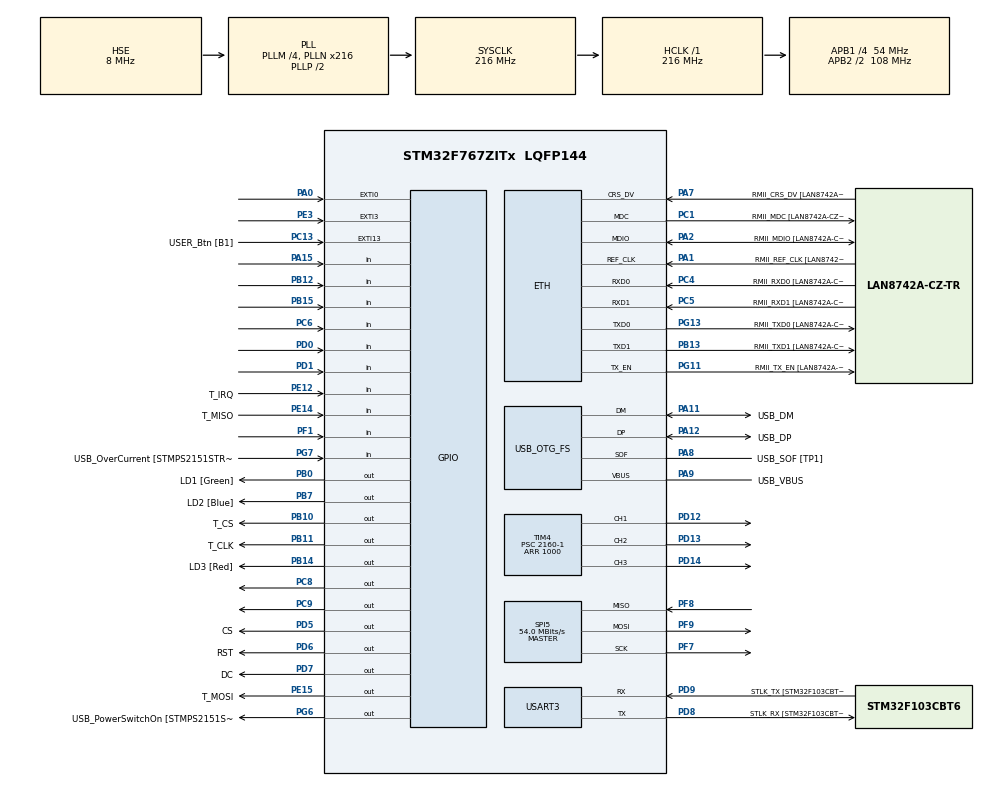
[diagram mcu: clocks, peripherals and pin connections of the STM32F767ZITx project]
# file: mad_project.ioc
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ETH.MediaInterface=HAL_ETH_RMII_MODE
ETH.PHY_Name=LAN8742A_PHY_ADDRESS
ETH.PHY_Value=0
ETH.PhyAddress=0
Mcu.Family=STM32F7
Mcu.Name=STM32F767ZITx
Mcu.Package=LQFP144
NVIC.EXTI0_IRQn=true\:2\:0\:true\:false\:true\:true\:true\:true
NVIC.EXTI3_IRQn=true\:1\:0\:true\:false\:true\:true\:true\:true
NVIC.PriorityGroup=NVIC_PRIORITYGROUP_2
NVIC.TIM2_IRQn=true\:0\:0\:false\:false\:true\:true\:true\:true
PA0/WKUP.Signal=GPXTI0
PA1.GPIO_Label=RMII_REF_CLK [LAN8742A-CZ-TR_REFCLK0]
PA1.Mode=RMII
PA1.Signal=ETH_REF_CLK
PA10.GPIO_Label=USB_ID
PA10.Signal=USB_OTG_FS_ID
PA11.GPIO_Label=USB_DM
PA11.Mode=Device_Only
PA11.Signal=USB_OTG_FS_DM
PA12.GPIO_Label=USB_DP
PA12.Mode=Device_Only
PA12.Signal=USB_OTG_FS_DP
PA13.GPIO_Label=TMS
PA13.Mode=Serial_Wire
PA13.Signal=SYS_JTMS-SWDIO
PA14.GPIO_Label=TCK
PA14.Mode=Serial_Wire
PA14.Signal=SYS_JTCK-SWCLK
PA15.Signal=GPIO_Input
PA2.GPIO_Label=RMII_MDIO [LAN8742A-CZ-TR_MDIO]
PA2.Mode=RMII
PA2.Signal=ETH_MDIO
PA7.GPIO_Label=RMII_CRS_DV [LAN8742A-CZ-TR_CRS_DV]
PA7.Mode=RMII
PA7.Signal=ETH_CRS_DV
PA8.GPIO_Label=USB_SOF [TP1]
PA8.Mode=Activate_SOF_FS
PA8.Signal=USB_OTG_FS_SOF
PA9.GPIO_Label=USB_VBUS
PA9.Mode=Activate_VBUS
PA9.Signal=USB_OTG_FS_VBUS
PB0.GPIO_Label=LD1 [Green]
PB0.Signal=GPIO_Output
PB10.GPIO_Label=T_CS
PB10.Signal=GPIO_Output
PB11.GPIO_Label=T_CLK
PB11.Signal=GPIO_Output
PB12.Signal=GPIO_Input
PB13.GPIO_Label=RMII_TXD1 [LAN8742A-CZ-TR_TXD1]
PB13.Mode=RMII
PB13.Signal=ETH_TXD1
PB14.GPIO_Label=LD3 [Red]
PB14.Signal=GPIO_Output
PB15.Signal=GPIO_Input
PB3.GPIO_Label=SWO
PB3.Signal=SYS_JTDO-SWO
PB7.GPIO_Label=LD2 [Blue]
PB7.Signal=GPIO_Output
PC1.GPIO_Label=RMII_MDC [LAN8742A-CZ-TR_MDC]
PC1.Mode=RMII
PC1.Signal=ETH_MDC
PC13.GPIO_Label=USER_Btn [B1]
PC13.Signal=GPXTI13
PC14/OSC32_IN.Mode=LSE-External-Oscillator
PC14/OSC32_IN.Signal=RCC_OSC32_IN
PC15/OSC32_OUT.Mode=LSE-External-Oscillator
PC15/OSC32_OUT.Signal=RCC_OSC32_OUT
PC4.GPIO_Label=RMII_RXD0 [LAN8742A-CZ-TR_RXD0]
PC4.Mode=RMII
PC4.Signal=ETH_RXD0
PC5.GPIO_Label=RMII_RXD1 [LAN8742A-CZ-TR_RXD1]
PC5.Mode=RMII
PC5.Signal=ETH_RXD1
PC6.Signal=GPIO_Input
PC8.Signal=GPIO_Output
PC9.Signal=GPIO_Output
PD0.Signal=GPIO_Input
PD1.Signal=GPIO_Input
PD12.Signal=S_TIM4_CH1
PD13.Signal=S_TIM4_CH2
PD14.Signal=S_TIM4_CH3
PD5.GPIO_Label=CS
PD5.Signal=GPIO_Output
PD6.GPIO_Label=RST
PD6.Signal=GPIO_Output
PD7.GPIO_Label=DC
PD7.Signal=GPIO_Output
PD8.GPIO_Label=STLK_RX [STM32F103CBT6_PA3]
PD8.Mode=Asynchronous
PD8.Signal=USART3_TX
PD9.GPIO_Label=STLK_TX [STM32F103CBT6_PA2]
PD9.Mode=Asynchronous
PD9.Signal=USART3_RX
PE12.GPIO_Label=T_IRQ
PE12.Signal=GPIO_Input
PE14.GPIO_Label=T_MISO
PE14.Signal=GPIO_Input
PE15.GPIO_Label=T_MOSI
PE15.Signal=GPIO_Output
PE3.Signal=GPXTI3
PF1.Signal=GPIO_Input
PF7.Mode=Full_Duplex_Master
PF7.Signal=SPI5_SCK
PF8.Mode=Full_Duplex_Master
PF8.Signal=SPI5_MISO
PF9.Mode=Full_Duplex_Master
PF9.Signal=SPI5_MOSI
PG11.GPIO_Label=RMII_TX_EN [LAN8742A-CZ-TR_TXEN]
PG11.Mode=RMII
PG11.Signal=ETH_TX_EN
PG13.GPIO_Label=RMII_TXD0 [LAN8742A-CZ-TR_TXD0]
PG13.Mode=RMII
PG13.Signal=ETH_TXD0
PG6.GPIO_Label=USB_PowerSwitchOn [STMPS2151STR_EN]
PG6.Signal=GPIO_Output
PG7.GPIO_Label=USB_OverCurrent [STMPS2151STR_FAULT]
PG7.Signal=GPIO_Input
PH0/OSC_IN.GPIO_Label=MCO [STM32F103CBT6_PA8]
PH0/OSC_IN.Mode=HSE-External-Oscillator
PH0/OSC_IN.Signal=RCC_OSC_IN
PH1/OSC_OUT.Mode=HSE-External-Oscillator
PH1/OSC_OUT.Signal=RCC_OSC_OUT
ProjectManager.HeapSize=0x200
ProjectManager.StackSize=0x400
ProjectManager.TargetToolchain=STM32CubeIDE
RCC.48MHZClocksFreq_Value=24000000
RCC.AHBFreq_Value=216000000
RCC.APB1CLKDivider=RCC_HCLK_DIV4
RCC.APB1Freq_Value=54000000
RCC.APB1TimFreq_Value=108000000
RCC.APB2CLKDivider=RCC_HCLK_DIV2
RCC.APB2Freq_Value=108000000
RCC.APB2TimFreq_Value=216000000
RCC.CortexFreq_Value=216000000
RCC.HCLKFreq_Value=216000000
RCC.HSE_VALUE=8000000
RCC.HSI_VALUE=16000000
RCC.PLLM=4
RCC.PLLMUL=RCC_PLL_MUL9
RCC.PLLN=216
RCC.PLLQ=9
RCC.PRESCALERUSB=RCC_USBCLKSOURCE_PLL_DIV1_5
RCC.SYSCLKFreq_VALUE=216000000
RCC.SYSCLKSource=RCC_SYSCLKSOURCE_PLLCLK
RCC.SYSCLKSourceVirtual=RCC_SYSCLKSOURCE_PLLCLK
RCC.USBFreq_Value=48000000
RCC.VCOOutputFreq_Value=432000000
SH.S_TIM4_CH1.0=TIM4_CH1,PWM Generation1 CH1
SH.S_TIM4_CH2.0=TIM4_CH2,PWM Generation2 CH2
SH.S_TIM4_CH3.0=TIM4_CH3,PWM Generation3 CH3
SPI5.CalculateBaudRate=54.0 MBits/s
SPI5.DataSize=SPI_DATASIZE_8BIT
SPI5.Direction=SPI_DIRECTION_2LINES
SPI5.Mode=SPI_MODE_MASTER
SPI5.NSSPMode=SPI_NSS_PULSE_DISABLE
SPI5.VirtualType=VM_MASTER
TIM2.Period=1000
TIM2.Prescaler=216-1
TIM3.Prescaler=216-1
TIM4.Channel-PWM\ Generation1\ CH1=TIM_CHANNEL_1
TIM4.Channel-PWM\ Generation2\ CH2=TIM_CHANNEL_2
TIM4.Channel-PWM\ Generation3\ CH3=TIM_CHANNEL_3
TIM4.ClockDivision=TIM_CLOCKDIVISION_DIV2
TIM4.Period=1000
TIM4.Prescaler=2160-1
TIM4.Pulse-PWM\ Generation1\ CH1=500
TIM4.Pulse-PWM\ Generation2\ CH2=500
TIM4.Pulse-PWM\ Generation3\ CH3=500
USART3.VirtualMode-Asynchronous=VM_ASYNC
USB_OTG_FS.VirtualMode=Device_Only
VP_TIM2_VS_ClockSourceINT.Mode=Internal
VP_TIM3_VS_ClockSourceINT.Mode=Internal
VP_TIM4_VS_ClockSourceINT.Mode=Internal
board=NUCLEO-F767ZI

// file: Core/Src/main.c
/* USER CODE BEGIN Header */
/**
  ******************************************************************************
  * @file           : main.c
  * @brief          : Main program body
  ******************************************************************************
  * @attention
  *
  * Copyright (c) 2022 STMicroelectronics.
  * All rights reserved.
  *
  * This software is licensed under terms that can be found in the LICENSE file
  * in the root directory of this software component.
  * If no LICENSE file comes with this software, it is provided AS-IS.
  *
  ******************************************************************************
  */
/* USER CODE END Header */
#include "main.h"
#include "eth.h"
#include "spi.h"
#include "tim.h"
#include "usart.h"
#include "usb_otg.h"
#include "gpio.h"

/* USER CODE BEGIN Includes */
#include "stdio.h"
#include "ILI9341_Touchscreen.h"

#include "ILI9341_STM32_Driver.h"
#include "ILI9341_GFX.h"

#include "snow_tiger.h"

#include "string.h"
/* USER CODE END Includes */

/* USER CODE BEGIN PD */
#define DIR_PIN GPIO_PIN_8
#define DIR_PORT GPIOC
#define STEP_PIN GPIO_PIN_9
#define STEP_PORT GPIOC
/* USER CODE END PD */

/* USER CODE BEGIN PV */
int isAuto = 0;

int RSteps = 25;
int LSteps = 25;
int grabSteps = 40;
int isGrip = 0;
int gripCanToggle = 0;
int stateCanToggle = 0;
int stepMotorDelay = 200;
int stepMotorSteps = 200;

uint32_t counter;
uint32_t sec;

uint32_t tick = 0;
uint32_t previousTick = 0;

int modePressed = 0;
int gripPressed = 0;
/* USER CODE END PV */

void SystemClock_Config(void);
/* USER CODE BEGIN PFP */
void microDelay(uint16_t delay);
void stepMotorToOrigin();
void servoMotorToOrigin();
void automation();
/* USER CODE END PFP */

/* USER CODE BEGIN 0 */
char str[50];
/* USER CODE END 0 */

int main(void)
{

  /* MCU Configuration--------------------------------------------------------*/

  /* Reset of all peripherals, Initializes the Flash interface and the Systick. */
  HAL_Init();

  /* Configure the system clock */
  SystemClock_Config();

  /* Initialize all configured peripherals */
  MX_GPIO_Init();
  MX_ETH_Init();
  MX_USART3_UART_Init();
  MX_USB_OTG_FS_PCD_Init();
  MX_TIM4_Init();
  MX_TIM3_Init();
  MX_SPI5_Init();
  MX_TIM2_Init();
  /* USER CODE BEGIN 2 */
  HAL_TIM_Base_Start(&htim3);
  HAL_TIM_Base_Start(&htim4);
  HAL_TIM_PWM_Start(&htim4, TIM_CHANNEL_1);
  HAL_TIM_PWM_Start(&htim4, TIM_CHANNEL_2);
  HAL_TIM_PWM_Start(&htim4, TIM_CHANNEL_3);

  __HAL_TIM_SetCompare(&htim4, TIM_CHANNEL_1, grabSteps);
  __HAL_TIM_SetCompare(&htim4, TIM_CHANNEL_2, RSteps);
  __HAL_TIM_SetCompare(&htim4, TIM_CHANNEL_3, LSteps);

  HAL_TIM_Base_Stop(&htim4);

  HAL_TIM_Base_Start(&htim2);
  ILI9341_Set_Rotation(SCREEN_VERTICAL_1);
  ILI9341_Fill_Screen(WHITE);
  /* USER CODE END 2 */

  /* Infinite loop */
  while (1)
  {

    /* USER CODE BEGIN 3 */

	  if(isAuto == 1)
	  {
		  sprintf(str,"AUTOMATIC...");
		  ILI9341_Draw_Text(str, 10, 10, BLACK, 2, WHITE);
//		  servoMotorToOrigin();
//		  if(stepMotorSteps > 200){
//			  HAL_GPIO_WritePin(DIR_PORT, DIR_PIN,GPIO_PIN_RESET);
//			  for(int i = 0; i< abs(stepMotorSteps - 200);i++){
//				  HAL_GPIO_WritePin(STEP_PORT, STEP_PIN, GPIO_PIN_SET);
//				  HAL_Delay(10);
//				  HAL_GPIO_WritePin(STEP_PORT, STEP_PIN, GPIO_PIN_RESET);
//				  HAL_Delay(10);
//			  }
//		  }
//		  else if(stepMotorSteps < 200){
//		  			  HAL_GPIO_WritePin(DIR_PORT, DIR_PIN,GPIO_PIN_SET);
//		  			  for(int i = 0; i< abs(stepMotorSteps - 200);i++){
//		  				  HAL_GPIO_WritePin(STEP_PORT, STEP_PIN, GPIO_PIN_SET);
//		  				  HAL_Delay(10);
//		  				  HAL_GPIO_WritePin(STEP_PORT, STEP_PIN, GPIO_PIN_RESET);
//		  				  HAL_Delay(10);
//		  			  }
//		  		  }
//		  stepMotorSteps = 200;
//		  HAL_Delay(100);

		  HAL_GPIO_WritePin(DIR_PORT, DIR_PIN,GPIO_PIN_SET);
		  for(int i = 0; i <51;i = i+1){
			  HAL_GPIO_WritePin(STEP_PORT, STEP_PIN, GPIO_PIN_SET);
			  HAL_Delay(10);
			  HAL_GPIO_WritePin(STEP_PORT, STEP_PIN, GPIO_PIN_RESET);
			  HAL_Delay(10);
		  }
		  HAL_Delay(500);

		  while( LSteps < 50){
			  LSteps++;
			  HAL_TIM_PWM_Start(&htim4, TIM_CHANNEL_3);
			  __HAL_TIM_SetCompare(&htim4, TIM_CHANNEL_3, LSteps);
			  HAL_TIM_Base_Stop(&htim4);
			  HAL_Delay(10);
		  }
		  HAL_Delay(800);

		  // Gripper OPEN
		  HAL_TIM_PWM_Start(&htim4, TIM_CHANNEL_1);
		  __HAL_TIM_SetCompare(&htim4, TIM_CHANNEL_1, 40);
		  HAL_TIM_Base_Stop(&htim4);
		  HAL_Delay(10);
		  HAL_Delay(800);

		  while( RSteps < 35) {
			  RSteps++;
			  HAL_TIM_PWM_Start(&htim4, TIM_CHANNEL_2);
			  __HAL_TIM_SetCompare(&htim4, TIM_CHANNEL_2, RSteps);
			  HAL_TIM_Base_Stop(&htim4);
			  HAL_Delay(10);
		  }
		  HAL_Delay(800);

		  // Gripper CLOSE
		  HAL_TIM_PWM_Start(&htim4, TIM_CHANNEL_1);
		  __HAL_TIM_SetCompare(&htim4, TIM_CHANNEL_1, 25);
		  HAL_TIM_Base_Stop(&htim4);
		  HAL_Delay(10);
		  HAL_Delay(800);

		  while( RSteps > 25) {
			  RSteps--;
			  HAL_TIM_PWM_Start(&htim4, TIM_CHANNEL_2);
			  __HAL_TIM_SetCompare(&htim4, TIM_CHANNEL_2, RSteps);
			  HAL_TIM_Base_Stop(&htim4);
			  HAL_Delay(10);
		  }
		  HAL_Delay(800);

		  while( LSteps > 25){
			  LSteps--;
			  HAL_TIM_PWM_Start(&htim4, TIM_CHANNEL_3);
			  __HAL_TIM_SetCompare(&htim4, TIM_CHANNEL_3, LSteps);
			  HAL_TIM_Base_Stop(&htim4);
			  HAL_Delay(10);
		  }
		  HAL_Delay(800);

		  HAL_GPIO_WritePin(DIR_PORT, DIR_PIN,GPIO_PIN_RESET);
		  for(int i = 0; i <51;i = i+1){
			  HAL_GPIO_WritePin(STEP_PORT, STEP_PIN, GPIO_PIN_SET);
			  HAL_Delay(10);
			  HAL_GPIO_WritePin(STEP_PORT, STEP_PIN, GPIO_PIN_RESET);
			  HAL_Delay(10);
		  }
		  HAL_Delay(500);

		  HAL_TIM_PWM_Start(&htim4, TIM_CHANNEL_1);
		  __HAL_TIM_SetCompare(&htim4, TIM_CHANNEL_1, 40);
		  HAL_TIM_Base_Stop(&htim4);
		  HAL_Delay(10);
		  HAL_Delay(800);

		  HAL_TIM_PWM_Start(&htim4, TIM_CHANNEL_1);
		  __HAL_TIM_SetCompare(&htim4, TIM_CHANNEL_1, 25);
		  HAL_TIM_Base_Stop(&htim4);
		  HAL_Delay(10);
		  HAL_Delay(800);

//		  for(int x = RSteps;x < 35;x++){
//			  HAL_TIM_PWM_Start(&htim4, TIM_CHANNEL_2);
//			  __HAL_TIM_SetCompare(&htim4, TIM_CHANNEL_2, x);
//			  HAL_TIM_Base_Stop(&htim4);
//			  HAL_Delay(5);
//		  }
//		  RSteps = 35;
//		  HAL_Delay(500);

//		  for(int x = RSteps;x > 25;x++){
//			  HAL_TIM_PWM_Start(&htim4, TIM_CHANNEL_2);
//			  __HAL_TIM_SetCompare(&htim4, TIM_CHANNEL_2, x);
//			  HAL_TIM_Base_Stop(&htim4);
//			  HAL_Delay(5);
//		  }
//
//		  RSteps = 25;
//		  HAL_Delay(500);
//
//		  for(int x = LSteps;x < 40;x++){
//			  HAL_TIM_PWM_Start(&htim4, TIM_CHANNEL_3);
//			  __HAL_TIM_SetCompare(&htim4, TIM_CHANNEL_3, x);
//			  HAL_TIM_Base_Stop(&htim4);
//			  HAL_Delay(5);
//		  }
//		  LSteps = 40;
//		  HAL_Delay(500);
//
//		  for(int x = LSteps;x < 25;x++){
//			  HAL_TIM_PWM_Start(&htim4, TIM_CHANNEL_3);
//			  __HAL_TIM_SetCompare(&htim4, TIM_CHANNEL_3, x);
//			  HAL_TIM_Base_Stop(&htim4);
//			  HAL_Delay(5);
//		  }
//		  LSteps = 25;
//		  HAL_Delay(500);
//
//
//
//		  HAL_Delay(1000);
	  }
	  if(isAuto == 0)
	  {
		  sprintf(str,"MANUAL...");
		  ILI9341_Draw_Text(str, 10, 10, BLACK, 2, WHITE);
		  // SERVO MOTOR RIGHT
		  if(HAL_GPIO_ReadPin(GPIOC, GPIO_PIN_6) == GPIO_PIN_RESET && RSteps < 35)
		  {
			  RSteps++;
			  HAL_TIM_PWM_Start(&htim4, TIM_CHANNEL_2);
			  __HAL_TIM_SetCompare(&htim4, TIM_CHANNEL_2, RSteps);
			  HAL_TIM_Base_Stop(&htim4);

			  //HAL_UART_Transmit(&huart3, "test", 10, 100);
		  }
		  else if(HAL_GPIO_ReadPin(GPIOB, GPIO_PIN_15) == GPIO_PIN_RESET && RSteps > 25)
		  {
			  RSteps--;
			  HAL_TIM_PWM_Start(&htim4, TIM_CHANNEL_2);
			  __HAL_TIM_SetCompare(&htim4, TIM_CHANNEL_2, RSteps);
			  HAL_TIM_Base_Stop(&htim4);

			  //HAL_UART_Transmit(&huart3, "stes", 10, 100);

		  // SERVO MOTOR LEFT
		  }
		  if(HAL_GPIO_ReadPin(GPIOB, GPIO_PIN_12) == GPIO_PIN_RESET && LSteps < 50)
		  {
			  LSteps++;
			  HAL_TIM_PWM_Start(&htim4, TIM_CHANNEL_3);
			  __HAL_TIM_SetCompare(&htim4, TIM_CHANNEL_3, LSteps);
			  HAL_TIM_Base_Stop(&htim4);
		  }
		  else if(HAL_GPIO_ReadPin(GPIOA, GPIO_PIN_15) == GPIO_PIN_RESET && LSteps > 25)
		  {
			  LSteps--;
			  HAL_TIM_PWM_Start(&htim4, TIM_CHANNEL_3);
			  __HAL_TIM_SetCompare(&htim4, TIM_CHANNEL_3, LSteps);
			  HAL_TIM_Base_Stop(&htim4);
		  }

		  // STEPPER MOTOR
		  if(HAL_GPIO_ReadPin(GPIOF, GPIO_PIN_1) == GPIO_PIN_RESET && stepMotorSteps < 400)
		  {
			  HAL_GPIO_WritePin(DIR_PORT, DIR_PIN, GPIO_PIN_SET);
			  stepMotorSteps++;
			  HAL_GPIO_WritePin(STEP_PORT, STEP_PIN, GPIO_PIN_SET);
			  microDelay(stepMotorDelay);
			  HAL_GPIO_WritePin(STEP_PORT, STEP_PIN, GPIO_PIN_RESET);
			  microDelay(stepMotorDelay);
		  }
		  else if(HAL_GPIO_ReadPin(GPIOD, GPIO_PIN_1) == GPIO_PIN_RESET && stepMotorSteps > 0)
		  {
			  HAL_GPIO_WritePin(DIR_PORT, DIR_PIN, GPIO_PIN_RESET);
			  stepMotorSteps--;
			  HAL_GPIO_WritePin(STEP_PORT, STEP_PIN, GPIO_PIN_SET);
			  microDelay(stepMotorDelay);
			  HAL_GPIO_WritePin(STEP_PORT, STEP_PIN, GPIO_PIN_RESET);
			  microDelay(stepMotorDelay);
		  }
		  HAL_Delay(20);
		  HAL_TIM_Base_Stop(&htim4);

		//	  Stepper Motor Rounding!!!!!
		//	  int stepper;
		//	  HAL_GPIO_WritePin(DIR_PORT, DIR_PIN, GPIO_PIN_SET);
	  }

  }
  /* USER CODE END 3 */
}

void SystemClock_Config(void)
{
  RCC_OscInitTypeDef RCC_OscInitStruct = {0};
  RCC_ClkInitTypeDef RCC_ClkInitStruct = {0};

  /** Configure LSE Drive Capability
  */
  HAL_PWR_EnableBkUpAccess();

  /** Configure the main internal regulator output voltage
  */
  __HAL_RCC_PWR_CLK_ENABLE();
  __HAL_PWR_VOLTAGESCALING_CONFIG(PWR_REGULATOR_VOLTAGE_SCALE1);

  /** Initializes the RCC Oscillators according to the specified parameters
  * in the RCC_OscInitTypeDef structure.
  */
  RCC_OscInitStruct.OscillatorType = RCC_OSCILLATORTYPE_HSE;
  RCC_OscInitStruct.HSEState = RCC_HSE_ON;
  RCC_OscInitStruct.PLL.PLLState = RCC_PLL_ON;
  RCC_OscInitStruct.PLL.PLLSource = RCC_PLLSOURCE_HSE;
  RCC_OscInitStruct.PLL.PLLM = 4;
  RCC_OscInitStruct.PLL.PLLN = 216;
  RCC_OscInitStruct.PLL.PLLP = RCC_PLLP_DIV2;
  RCC_OscInitStruct.PLL.PLLQ = 9;
  RCC_OscInitStruct.PLL.PLLR = 2;
  if (HAL_RCC_OscConfig(&RCC_OscInitStruct) != HAL_OK)
  {
    Error_Handler();
  }

  /** Activate the Over-Drive mode
  */
  if (HAL_PWREx_EnableOverDrive() != HAL_OK)
  {
    Error_Handler();
  }

  /** Initializes the CPU, AHB and APB buses clocks
  */
  RCC_ClkInitStruct.ClockType = RCC_CLOCKTYPE_HCLK|RCC_CLOCKTYPE_SYSCLK
                              |RCC_CLOCKTYPE_PCLK1|RCC_CLOCKTYPE_PCLK2;
  RCC_ClkInitStruct.SYSCLKSource = RCC_SYSCLKSOURCE_PLLCLK;
  RCC_ClkInitStruct.AHBCLKDivider = RCC_SYSCLK_DIV1;
  RCC_ClkInitStruct.APB1CLKDivider = RCC_HCLK_DIV4;
  RCC_ClkInitStruct.APB2CLKDivider = RCC_HCLK_DIV2;

  if (HAL_RCC_ClockConfig(&RCC_ClkInitStruct, FLASH_LATENCY_7) != HAL_OK)
  {
    Error_Handler();
  }
}

/* USER CODE BEGIN 4 */
void microDelay(uint16_t delay)
{
	__HAL_TIM_SET_COUNTER(&htim3, 0);
	while(__HAL_TIM_GET_COUNTER(&htim3) < delay);
}

void stepMotorToOrigin()
{
	while(stepMotorSteps != 100)
	{
		if(stepMotorSteps > 100)
		{
			HAL_GPIO_WritePin(DIR_PORT, DIR_PIN, GPIO_PIN_RESET);
			stepMotorSteps--;
			HAL_GPIO_WritePin(STEP_PORT, STEP_PIN, GPIO_PIN_SET);
			microDelay(stepMotorDelay);
			HAL_GPIO_WritePin(STEP_PORT, STEP_PIN, GPIO_PIN_RESET);
			microDelay(stepMotorDelay);
		}
		else if(stepMotorSteps < 100)
		{
			HAL_GPIO_WritePin(DIR_PORT, DIR_PIN, GPIO_PIN_SET);
			stepMotorSteps++;
			HAL_GPIO_WritePin(STEP_PORT, STEP_PIN, GPIO_PIN_SET);
			microDelay(stepMotorDelay);
			HAL_GPIO_WritePin(STEP_PORT, STEP_PIN, GPIO_PIN_RESET);
			microDelay(stepMotorDelay);
		}
	}
}

void servoMotorToOrigin()
{
	HAL_TIM_PWM_Start(&htim4, TIM_CHANNEL_1);
	HAL_TIM_PWM_Start(&htim4, TIM_CHANNEL_2);
	HAL_TIM_PWM_Start(&htim4, TIM_CHANNEL_3);

	LSteps = 25;
	RSteps = 25;
	grabSteps = 40;

	__HAL_TIM_SetCompare(&htim4, TIM_CHANNEL_1, grabSteps);
	__HAL_TIM_SetCompare(&htim4, TIM_CHANNEL_2, LSteps);
	__HAL_TIM_SetCompare(&htim4, TIM_CHANNEL_3, RSteps);

	HAL_TIM_Base_Stop(&htim4);
}

void automation()
{

	servoMotorToOrigin();
    HAL_GPIO_WritePin(DIR_PORT, DIR_PIN, GPIO_PIN_SET);
    for(int steps = 100; steps < 200; steps++)
    {
      HAL_GPIO_WritePin(STEP_PORT, STEP_PIN, GPIO_PIN_SET);
      microDelay(stepMotorDelay);
      HAL_GPIO_WritePin(STEP_PORT, STEP_PIN, GPIO_PIN_RESET);
      microDelay(stepMotorDelay);
	}
    HAL_Delay(500);

    HAL_TIM_PWM_Start(&htim4, TIM_CHANNEL_3);
    __HAL_TIM_SetCompare(&htim4, TIM_CHANNEL_3, 50);
    HAL_TIM_Base_Stop(&htim4);
    HAL_Delay(500);

    HAL_TIM_PWM_Start(&htim4, TIM_CHANNEL_2);
    __HAL_TIM_SetCompare(&htim4, TIM_CHANNEL_2, 35);
    HAL_TIM_Base_Stop(&htim4);
    HAL_Delay(500);

    HAL_TIM_PWM_Start(&htim4, TIM_CHANNEL_1);
    __HAL_TIM_SetCompare(&htim4,TIM_CHANNEL_1, 25);
    //HAL_TIM_Base_Stop(&htim4);
    HAL_Delay(500);

    HAL_TIM_PWM_Start(&htim4, TIM_CHANNEL_2);
	__HAL_TIM_SetCompare(&htim4, TIM_CHANNEL_2, 25);
	HAL_TIM_Base_Stop(&htim4);
	HAL_Delay(500);

	HAL_TIM_PWM_Start(&htim4, TIM_CHANNEL_3);
	__HAL_TIM_SetCompare(&htim4, TIM_CHANNEL_3, 25);
	HAL_TIM_Base_Stop(&htim4);
	HAL_Delay(500);

	HAL_GPIO_WritePin(DIR_PORT, DIR_PIN, GPIO_PIN_RESET);
	for(int steps = 100; steps > 0; steps--)
	{
	  HAL_GPIO_WritePin(STEP_PORT, STEP_PIN, GPIO_PIN_SET);
	  microDelay(stepMotorDelay);
	  HAL_GPIO_WritePin(STEP_PORT, STEP_PIN, GPIO_PIN_RESET);
	  microDelay(stepMotorDelay);
	}
	HAL_Delay(500);

	HAL_TIM_PWM_Start(&htim4, TIM_CHANNEL_2);
	__HAL_TIM_SetCompare(&htim4, TIM_CHANNEL_2, 35);
	HAL_TIM_Base_Stop(&htim4);
	HAL_Delay(500);

	HAL_TIM_PWM_Start(&htim4, TIM_CHANNEL_3);
	__HAL_TIM_SetCompare(&htim4, TIM_CHANNEL_3, 50);
	HAL_TIM_Base_Stop(&htim4);
	HAL_Delay(500);

	HAL_TIM_PWM_Start(&htim4, TIM_CHANNEL_1);
	__HAL_TIM_SetCompare(&htim4,TIM_CHANNEL_1, 40);
	HAL_TIM_Base_Stop(&htim4);
	HAL_Delay(500);
}

void HAL_GPIO_EXTI_Callback(uint16_t GPIO_Pin)
{
	HAL_Delay(50);
//	if (GPIO_Pin == GPIO_PIN_0){
//		for(int grabSteps = 25; grabSteps < 50; grabSteps++)
//		{
//			HAL_TIM_PWM_Start(&htim4, TIM_CHANNEL_1);
//			__HAL_TIM_SetCompare(&htim4,TIM_CHANNEL_1, grabSteps);
//			HAL_Delay(5);
//		}
//		HAL_Delay(500);
//		for(int grabSteps = 50; grabSteps > 25; grabSteps--)
//		{
//			HAL_TIM_PWM_Start(&htim4, TIM_CHANNEL_1);
//			__HAL_TIM_SetCompare(&htim4,TIM_CHANNEL_1, grabSteps);
//			HAL_Delay(5);
//		}
//	}

	if (GPIO_Pin == GPIO_PIN_0)
	{
	  if(isGrip == 0){
		  isGrip = 1;
	  }
	  else
	  {
		  isGrip = 0;
	  }

	  if(isGrip == 0){
		  HAL_TIM_PWM_Start(&htim4, TIM_CHANNEL_1);
		  __HAL_TIM_SetCompare(&htim4,TIM_CHANNEL_1, 25);
		  //isGrip = 1;
		  HAL_Delay(5);
  //		  {
  //		  for(grabSteps = 25; grabSteps < 50; grabSteps++)
  //		  {
  //			HAL_TIM_PWM_Start(&htim4, TIM_CHANNEL_1);
  //			__HAL_TIM_SET_COMPARE(&htim4,TIM_CHANNEL_1, grabSteps);
  //			HAL_Delay(5);
  //		  }
  //		  for(grabSteps = 50; grabSteps > 25; grabSteps--)
  //		  {
  //			__HAL_TIM_SET_COMPARE(&htim4,TIM_CHANNEL_1, grabSteps);
  //			HAL_Delay(5);
  //		  }
	  }
	  else if(isGrip == 1){
		  HAL_TIM_PWM_Start(&htim4, TIM_CHANNEL_1);
		  __HAL_TIM_SetCompare(&htim4,TIM_CHANNEL_1, 40);
		  //isGrip = 0;
		  HAL_Delay(5);

	  }
	  HAL_Delay(500);

	}

	if(GPIO_Pin == GPIO_PIN_3)
	{
		if(isAuto == 0)
		{
			isAuto = 1;
			stepMotorSteps = 200;
			servoMotorToOrigin();

		}
		else
		{
			isAuto = 0;

		}
		HAL_Delay(200);
	}
}
/* USER CODE END 4 */

void Error_Handler(void)
{
  __disable_irq();
  while (1)
  {
  }
}
